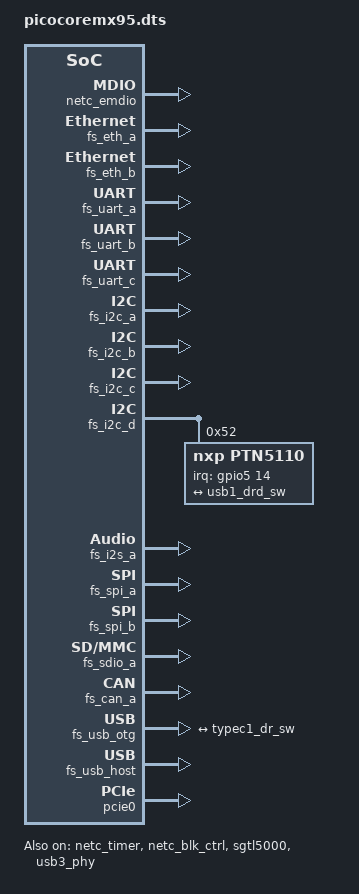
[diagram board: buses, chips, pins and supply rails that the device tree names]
// SPDX-License-Identifier: GPL-2.0
/*
 * Copyright (C) 2026 F&S Elektronik Systeme GmbH
 *
 * This program is free software; you can redistribute it and/or modify
 * it under the terms of the GNU General Public License version 2 as
 * published by the Free Software Foundation.
 */

/dts-v1/;

#define CONFIG_PICOCOREMX95_BOARD_REVISION 100

// #define SUPPORT_RPMSG

#include <dt-bindings/usb/pd.h>
#include "picocoremx95.dtsi"

/* ==== Ethernet ==== */
&netc_timer {
	status = "okay";
};

&netc_blk_ctrl {
	status = "okay";
};

&netc_emdio {
	status = "okay";
};

&fs_eth_a {
	status = "okay";
};

&fs_eth_b {
	status = "okay";
};

/* ==== UART ==== */
&fs_uart_a {
	status = "okay";
};

&fs_uart_b {
	status = "okay";
};

&fs_uart_c {
	status = "okay";
};

/* reserved for Cortex-M33 */
&fs_uart_d {
	status = "disabled";
};

/* ==== I2C ==== */
/* FS_I2C_INT reserved for Cortex-M33 */
&fs_i2c_int {
	status = "disabled";
};

&fs_i2c_a {
    status = "okay";
};

&fs_i2c_b {
	status = "okay";
};

&fs_i2c_c {
	status = "okay";
};

&fs_i2c_d {
	status = "okay";

	ptn5110: tcpc@52 {
		compatible = "nxp,ptn5110", "tcpci";
		reg = <0x52>;
		interrupt-parent = <&gpio5>;
		interrupts = <14 IRQ_TYPE_LEVEL_LOW>;

		typec1_con: connector {
			compatible = "usb-c-connector";
			label = "USB-C";
			power-role = "dual";
			data-role = "dual";
			try-power-role = "sink";
			source-pdos = <PDO_FIXED(5000, 3000, PDO_FIXED_USB_COMM)>;
			sink-pdos = <PDO_FIXED(5000, 3000, PDO_FIXED_USB_COMM)
				     PDO_VAR(5000, 20000, 3000)>;
			op-sink-microwatt = <15000000>;
			self-powered;

			ports {
				#address-cells = <1>;
				#size-cells = <0>;

				port@0 {
					reg = <0>;

					typec1_dr_sw: endpoint {
						remote-endpoint = <&usb1_drd_sw>;
					};
				};
			};
		};
	};
};

/* ==== Audio ==== */
&sound_sgtl5000 {
    status = "okay";
};

&sgtl5000 {
	status = "okay";
};

&fs_i2s_a {
	status = "okay";
};

/* ==== SPI ==== */
&fs_spi_a {
	status = "okay";
};

&fs_spi_b {
	status = "okay";
};

/* ==== SDIO ==== */
&fs_sdio_a {
	status = "okay";
};

&fs_sdio_b {
	status = "disabled";
};

/* ==== CAN ==== */
&fs_can_a {
	status = "okay";
};

/* ==== USB ==== */
/* OTG */
&fs_usb_otg {
	status = "okay";
	usb-role-switch;
	port {
		usb1_drd_sw: endpoint {
			remote-endpoint = <&typec1_dr_sw>;
		};
	};
};

/* HOST */
&fs_usb_host {
	status = "okay";
};

&usb3_phy {
	status = "okay";
};

/* ==== MISC ====*/
&neoisp0 {
	status = "disabled";
};

&dpu {
	status = "disabled";
};

&adc1 {
	status = "disabled";
};

&pcie0 {
	status = "okay";
};

&pcie0_ep {
	status = "disabled";
};

